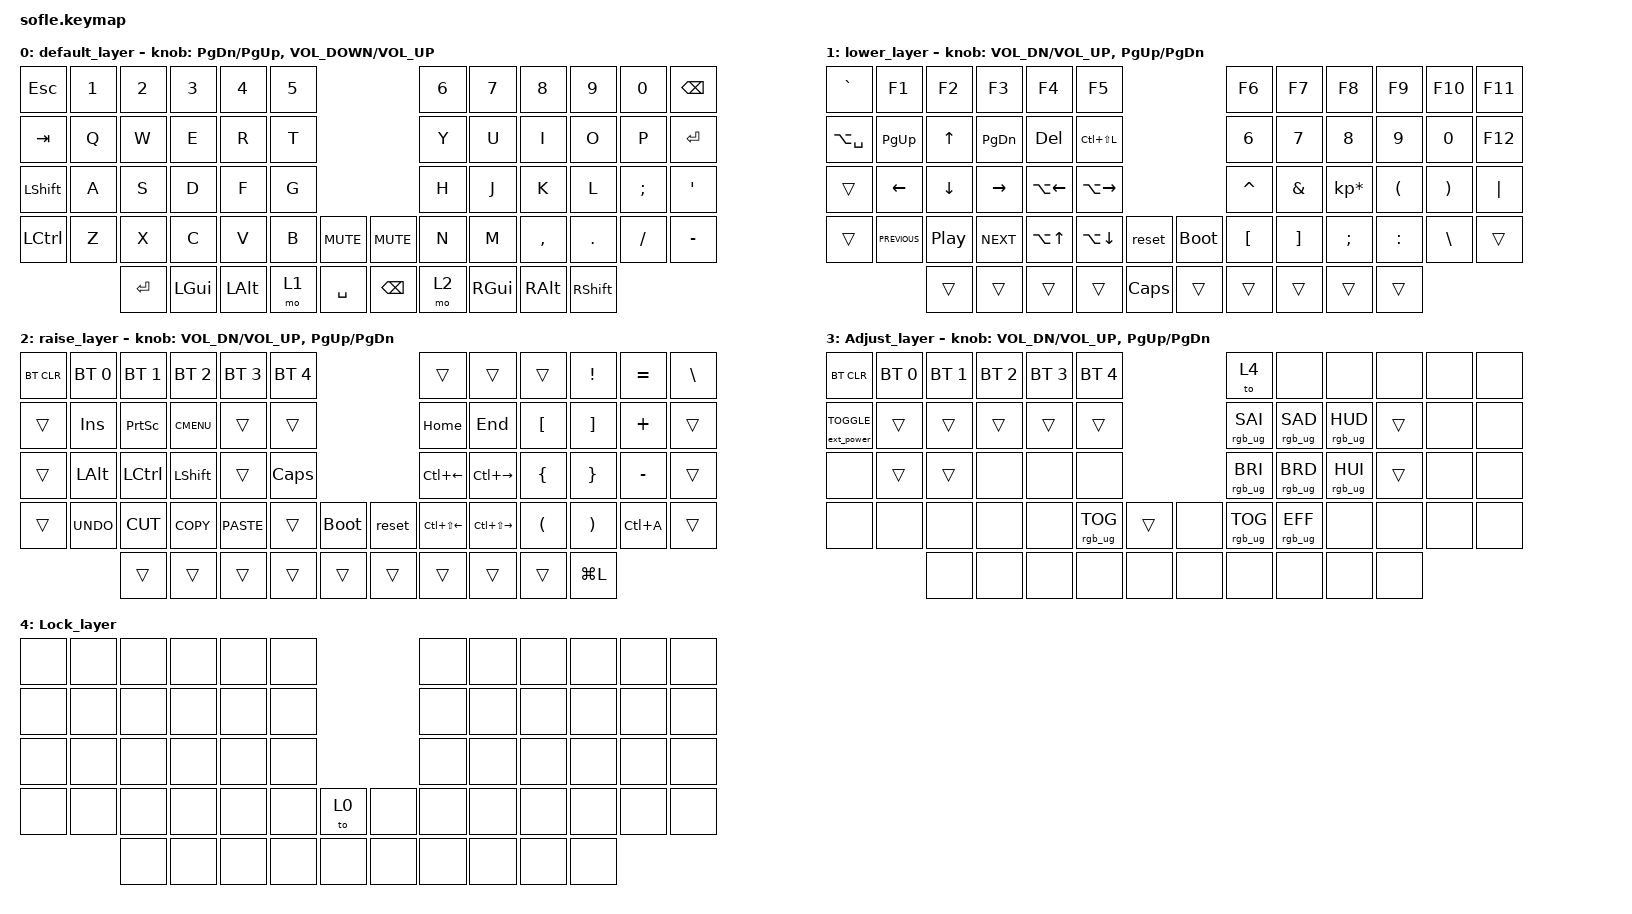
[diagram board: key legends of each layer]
/*
 * Copyright (c) 2020 The ZMK Contributors
 *
 * SPDX-License-Identifier: MIT
 */

#include <behaviors.dtsi>
#include <dt-bindings/zmk/keys.h>
#include <dt-bindings/zmk/bt.h>
#include <dt-bindings/zmk/ext_power.h>
#include <dt-bindings/zmk/rgb.h>

#define BASE 0
#define LOWER 1
#define RAISE 2
#define ADJUST 3

/ {
    // Activate ADJUST layer by pressing raise and lower

    conditional_layers {
        compatible = "zmk,conditional-layers";

        adjust_layer {
            if-layers = <LOWER RAISE>;
            then-layer = <ADJUST>;
        };
    };

    macros {
    };

    keymap {
        compatible = "zmk,keymap";

        default_layer {
            // ------------------------------------------------------------------------------------------------------------
            // |  `    |  1  |  2  |  3   |  4   |  5   |                   |  6   |  7    |  8    |  9   |   0   |       |
            // |  ESC  |  Q  |  W  |  E   |  R   |  T   |                   |  Y   |  U    |  I    |  O   |   P   | BKSPC |
            // |  TAB  |  A  |  S  |  D   |  F   |  G   |                   |  H   |  J    |  K    |  L   |   ;   |   '   |
            // | SHIFT |  Z  |  X  |  C   |  V   |  B   |  MUTE  |  |       |  N   |  M    |  ,    |  .   |   /   | SHIFT |
            //               | GUI | ALT  | CTRL | LOWER|  ENTER |  | SPACE | RAISE| CTRL  | ALT   | GUI  |

            bindings = <
    &kp ESC  &kp N1     &kp N2    &kp N3    &kp N4  &kp N5                             &kp N6         &kp N7     &kp N8           &kp N9    &kp N0  &kp BACKSPACE
    &kp TAB   &kp Q      &kp W     &kp E     &kp R   &kp T                              &kp Y          &kp U      &kp I            &kp O     &kp P        &kp RET
 &kp LSHIFT   &kp A      &kp S     &kp D     &kp F   &kp G                              &kp H          &kp J      &kp K            &kp L  &kp SEMI        &kp SQT
  &kp LCTRL   &kp Z      &kp X     &kp C     &kp V   &kp B  &kp C_MUTE     &kp C_MUTE   &kp N          &kp M  &kp COMMA          &kp DOT  &kp FSLH      &kp MINUS
                     &kp ENTER  &kp LGUI  &kp LALT   &mo 1   &kp SPACE  &kp BACKSPACE   &mo 2  &kp RIGHT_GUI   &kp RALT  &kp RIGHT_SHIFT
            >;

            sensor-bindings = <&inc_dec_kp PAGE_DOWN PAGE_UP &inc_dec_kp C_VOLUME_DOWN C_VOLUME_UP>;
        };

        lower_layer {
            // TODO: Some binds are waiting for shifted keycode support.
            // ------------------------------------------------------------------------------------------------------------
            // |       |  F1 |  F2 |  F3  |  F4  |  F5  |                   |  F6  |  F7   |  F8   |  F9  |  F10  |  F11  |
            // | `     |   1 |   2 |   3  |   4  |   5  |                   |   6  |   7   |   8   |   9  |    0  |  F12  |
            // |       |  !  |  @  |  #   |  $   |  %   |                   |  ^   |  &    |  *    |  (   |   )   |   |   |
            // |       |  =  |  -  |  +   |  {   |  }   |        |  |       |  [   |  ]    |  ;    |  :   |   \   |       |
            //               |     |      |      |      |        |  |       |      |       |       |      |

            bindings = <
     &kp GRAVE          &kp F1            &kp F2         &kp F3        &kp F4         &kp F5                            &kp F6    &kp F7           &kp F8     &kp F9   &kp F10   &kp F11
 &kp LA(SPACE)     &kp PAGE_UP            &kp UP  &kp PAGE_DOWN    &kp DELETE  &kp LC(LS(L))                            &kp N6    &kp N7           &kp N8     &kp N9    &kp N0   &kp F12
        &trans        &kp LEFT          &kp DOWN      &kp RIGHT  &kp LA(LEFT)  &kp LA(RIGHT)                         &kp CARET  &kp AMPS  &kp KP_MULTIPLY   &kp LPAR  &kp RPAR  &kp PIPE
        &trans  &kp C_PREVIOUS  &kp C_PLAY_PAUSE     &kp C_NEXT    &kp LA(UP)   &kp LA(DOWN)    &reset  &bootloader   &kp LBKT  &kp RBKT         &kp SEMI  &kp COLON  &kp BSLH    &trans
                                          &trans         &trans        &trans         &trans  &kp CAPS       &trans     &trans    &trans           &trans     &trans
            >;

            sensor-bindings = <&inc_dec_kp C_VOL_DN C_VOL_UP &inc_dec_kp PAGE_UP PAGE_DOWN>;
        };

        raise_layer {
            // ------------------------------------------------------------------------------------------------------------
            // |BTCLR| BT1  | BT2  |  BT3  |  BT4  |  BT5 |                |      |      |       |      |       |       |
            // |     | INS  | PSCR | GUI   |       |      |                | PGUP |      |   ^   |      |       |       |
            // |     | ALT  | CTRL | SHIFT |       | CAPS |                | PGDN |   <- |   v   |  ->  |  DEL  | BKSPC |
            // |     | UNDO | CUT  | COPY  | PASTE |      |      |  |      |      |      |       |      |       |       |
            //              |      |       |       |      |      |  |      |      |      |       |      |

            bindings = <
 &bt BT_CLR  &bt BT_SEL 0  &bt BT_SEL 1  &bt BT_SEL 2  &bt BT_SEL 3  &bt BT_SEL 4                                 &trans             &trans                &trans               &kp EXCL  &kp EQUAL  &kp BACKSLASH
     &trans       &kp INS     &kp PSCRN   &kp K_CMENU        &trans        &trans                               &kp HOME            &kp END      &kp LEFT_BRACKET      &kp RIGHT_BRACKET   &kp PLUS         &trans
     &trans      &kp LALT     &kp LCTRL     &kp LSHFT        &trans      &kp CLCK                           &kp LC(LEFT)      &kp LC(RIGHT)        &kp LEFT_BRACE        &kp RIGHT_BRACE  &kp MINUS         &trans
     &trans    &kp K_UNDO     &kp K_CUT    &kp K_COPY   &kp K_PASTE        &trans  &bootloader  &reset  &kp LC(LS(LEFT))  &kp LC(LS(RIGHT))  &kp LEFT_PARENTHESIS  &kp RIGHT_PARENTHESIS  &kp LC(A)         &trans
                                 &trans        &trans        &trans        &trans       &trans  &trans            &trans             &trans                &trans              &kp LG(L)
            >;

            sensor-bindings = <&inc_dec_kp C_VOL_DN C_VOL_UP &inc_dec_kp PAGE_UP PAGE_DOWN>;
        };

        // ------------------------------------------------------------------------------------------------------------
        // |BTCLR | BT1   | BT2   |  BT3  |  BT4  |  BT5  |                |      |      |       |      |       |       |
        // |EXTPWR|RGB_HUD|RGB_HUI|RGB_SAD|RGB_SAI|RGB_EFF|                |      |      |       |      |       |       |
        // |      |RGB_BRD|RGB_BRI|       |       |       |                |      |      |       |      |       |       |
        // |      |       |       |       |       |       |RGB_TOG| |      |      |      |       |      |       |       |
        //                |       |       |       |       |       | |      |      |      |       |      |

        Adjust_layer {
            bindings = <
                      &bt BT_CLR  &bt BT_SEL 0  &bt BT_SEL 1  &bt BT_SEL 2  &bt BT_SEL 3     &bt BT_SEL 4                            &to 4            &none            &none   &none   &none   &none
 &ext_power EXT_POWER_TOGGLE_CMD        &trans        &trans        &trans        &trans           &trans                  &rgb_ug RGB_SAI  &rgb_ug RGB_SAD  &rgb_ug RGB_HUD  &trans   &none   &none
                           &none        &trans        &trans         &none         &none            &none                  &rgb_ug RGB_BRI  &rgb_ug RGB_BRD  &rgb_ug RGB_HUI  &trans   &none   &none
                           &none         &none         &none         &none         &none  &rgb_ug RGB_TOG  &trans   &none  &rgb_ug RGB_TOG  &rgb_ug RGB_EFF            &none   &none   &none   &none
                                                       &none         &none         &none            &none   &none   &none            &none            &none            &none   &none
            >;

            sensor-bindings = <&inc_dec_kp C_VOL_DN C_VOLUME_UP &inc_dec_kp PAGE_UP PAGE_DOWN>;
        };

        Lock_layer {
            bindings = <
  &none   &none   &none   &none   &none   &none                   &none   &none   &none   &none   &none   &none
  &none   &none   &none   &none   &none   &none                   &none   &none   &none   &none   &none   &none
  &none   &none   &none   &none   &none   &none                   &none   &none   &none   &none   &none   &none
  &none   &none   &none   &none   &none   &none   &to 0   &none   &none   &none   &none   &none   &none   &none
                  &none   &none   &none   &none   &none   &none   &none   &none   &none   &none
            >;
        };
    };
};
